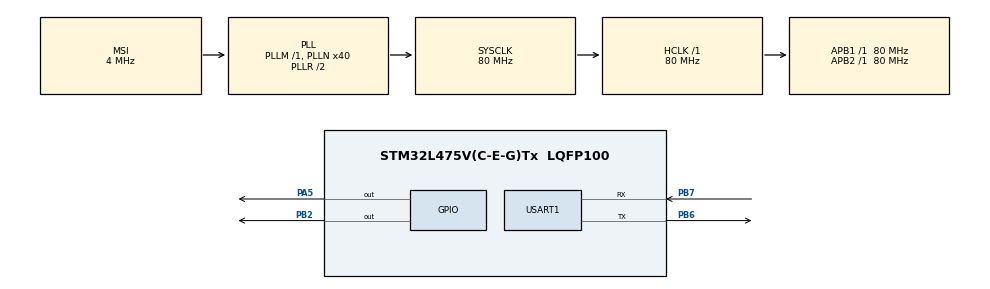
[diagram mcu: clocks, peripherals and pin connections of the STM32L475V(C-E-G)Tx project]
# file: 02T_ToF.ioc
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Mcu.Family=STM32L4
Mcu.Name=STM32L475V(C-E-G)Tx
Mcu.Package=LQFP100
NVIC.PriorityGroup=NVIC_PRIORITYGROUP_4
NVIC.TIM1_UP_TIM16_IRQn=true\:15\:0\:false\:false\:true\:false\:true
NVIC.TIM2_IRQn=true\:0\:0\:false\:false\:true\:true\:true
NVIC.TimeBase=TIM1_UP_TIM16_IRQn
NVIC.TimeBaseIP=TIM1
PA5.Signal=GPIO_Output
PB2.Signal=GPIO_Output
PB6.Mode=Asynchronous
PB6.Signal=USART1_TX
PB7.Mode=Asynchronous
PB7.Signal=USART1_RX
ProjectManager.HeapSize=0x200
ProjectManager.StackSize=0x400
ProjectManager.TargetToolchain=STM32CubeIDE
RCC.ADCFreq_Value=48000000
RCC.AHBFreq_Value=80000000
RCC.APB1Freq_Value=80000000
RCC.APB1TimFreq_Value=80000000
RCC.APB2Freq_Value=80000000
RCC.APB2TimFreq_Value=80000000
RCC.CortexFreq_Value=80000000
RCC.HCLKFreq_Value=80000000
RCC.HSE_VALUE=8000000
RCC.HSI_VALUE=16000000
RCC.LSE_VALUE=32768
RCC.MSI_VALUE=4000000
RCC.PLLN=40
RCC.PLLSAI1N=24
RCC.SYSCLKFreq_VALUE=80000000
RCC.SYSCLKSource=RCC_SYSCLKSOURCE_PLLCLK
RCC.USBFreq_Value=48000000
RCC.VCOOutputFreq_Value=160000000
TIM2.AutoReloadPreload=TIM_AUTORELOAD_PRELOAD_ENABLE
TIM2.Period=80000000
USART1.VirtualMode-Asynchronous=VM_ASYNC
VP_SYS_VS_tim1.Mode=TIM1
VP_TIM2_VS_ClockSourceINT.Mode=Internal
board=B-L475E-IOT01A1

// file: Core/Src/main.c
/* USER CODE BEGIN Header */
/**
  ******************************************************************************
  * @file           : main.c
  * @brief          : Main program body
  ******************************************************************************
  * @attention
  *
  * <h2><center>&copy; Copyright (c) 2022 STMicroelectronics.
  * All rights reserved.</center></h2>
  *
  * This software component is licensed by ST under BSD 3-Clause license,
  * the "License"; You may not use this file except in compliance with the
  * License. You may obtain a copy of the License at:
  *                        opensource.org/licenses/BSD-3-Clause
  *
  ******************************************************************************
  */
/* USER CODE END Header */
#include "main.h"

/* USER CODE BEGIN PD */

#define MAXDATA 255

#define ERR   		-1
#define OUT   		0
#define LOW   		1
#define MID   		2
#define HIGH  		3
#define OVER_HIGH	4

/* USER CODE END PD */

TIM_HandleTypeDef htim2;

UART_HandleTypeDef huart1;

void SystemClock_Config(void);
static void MX_GPIO_Init(void);
static void MX_TIM2_Init(void);
static void MX_USART1_UART_Init(void);
static void VL53L0X_PROXIMITY_MspInit(void);
static void START_PIN_TurnOnPinOUT(void);
static void STOP_PIN_TurnOffPinOUT(void);

/* USER CODE BEGIN 0 */

int nRet = OUT;
int nFlag = 0;
int nCount = 0;
extern I2C_HandleTypeDef hI2cHandler;
VL53L0X_DEV DevCopy;
VL53L0X_Dev_t Dev =
{
  .I2cHandle = &hI2cHandler,
  .I2cDevAddr = PROXIMITY_I2C_ADDRESS
};

extern UART_HandleTypeDef hDiscoUart;
#ifdef __GNUC__
/* With GCC/RAISONANCE, small msg_info (option LD Linker->Libraries->Small msg_info
   set to 'Yes') calls __io_putchar() */
#define PUTCHAR_PROTOTYPE int __io_putchar(int ch)
#define GETCHAR_PROTOTYPE int __io_getchar(void)
#else
#define PUTCHAR_PROTOTYPE int fputc(int ch, FILE *f)
#define GETCHAR_PROTOTYPE int fgetc(FILE *f)
#endif /* __GNUC__ */

/* USER CODE END 0 */

int main(void)
{

  /* MCU Configuration--------------------------------------------------------*/

  /* Reset of all peripherals, Initializes the Flash interface and the Systick. */
  HAL_Init();

  /* Configure the system clock */
  SystemClock_Config();

  /* Initialize all configured peripherals */
  MX_GPIO_Init();
  MX_TIM2_Init();
  MX_USART1_UART_Init();
  /* USER CODE BEGIN 2 */

  /* Inizializzazione del Timer */
  // Chiedere per il multithreading
  HAL_TIM_Base_Start_IT(&htim2);

  /* USER CODE END 2 */

  /* Infinite loop */
  /* USER CODE BEGIN WHILE */
  while (1)
  {
	  if (nFlag)
	  {
	    uint16_t nVal = 0;
	    uint8_t sDati[MAXDATA];
	    memset(sDati, 0, MAXDATA);

	    /* Inizializzazione VL53L0X */

	    uint16_t nIdVL53L0X = 0;
	    VL53L0X_DeviceInfo_t VL53L0X_DeviceInfo;

	    // Inizializzazione IO Interface
	    SENSOR_IO_Init();
	    VL53L0X_PROXIMITY_MspInit();

	    memset(&VL53L0X_DeviceInfo, 0, sizeof(VL53L0X_DeviceInfo_t));

	    if (VL53L0X_ERROR_NONE == VL53L0X_GetDeviceInfo(&Dev, &VL53L0X_DeviceInfo))
	    {
	      if (VL53L0X_ERROR_NONE == VL53L0X_RdWord(&Dev, VL53L0X_REG_IDENTIFICATION_MODEL_ID, (uint16_t *) &nIdVL53L0X))
	      {
	        if (nIdVL53L0X == VL53L0X_ID)
	        {
	          if (VL53L0X_ERROR_NONE == VL53L0X_DataInit(&Dev))
	          {
	            Dev.Present = 1;

	            DevCopy = &Dev;

	            SetupSingleShot(DevCopy);

	            Dev = *DevCopy;
	          }
	          else
	            printf("VL53L0X Time of Flight Failed to send its ID!\n");
	        }
	      }
	      else
	        printf("VL53L0X Time of Flight Failed to Initialize!\n");
	    }
	    else
	      printf("VL53L0X Time of Flight Failed to get infos!\n");

	    /* Cattura della distanza */

	    VL53L0X_RangingMeasurementData_t RangingMeasurementData;

	    VL53L0X_PerformSingleRangingMeasurement(&Dev, &RangingMeasurementData);

	    nVal = RangingMeasurementData.RangeMilliMeter;

	    /* Logica di controllo */
	    /* 30 cm cicalino costante */

	    if ((nVal >= 1000) && (nVal < 1800))
	      nRet = LOW;
	    else if ((nVal >= 500) &&(nVal < 1000))
	      nRet = MID;
	    else if ((nVal >= 300) && (nVal < 500))
	      nRet = HIGH;
	    else if ((nVal >= 40) && (nVal < 300))
	    	nRet = OVER_HIGH;
	    else if ((nVal >= 1800) || (nVal <= 20))
	      nRet = OUT;
	    else
	      nRet = ERR;

	    int nTemp = nRet;
	    if (nRet == OVER_HIGH)
	    	nTemp = HIGH;

	    sprintf(sDati, "%d-%u", nTemp, nVal);
	    printf("%s", sDati);

	    HAL_UART_Transmit(&huart1, sDati, sizeof(sDati), 3);
	  }

    /* USER CODE END WHILE */

  }
}

void SystemClock_Config(void)
{
  RCC_OscInitTypeDef RCC_OscInitStruct = {0};
  RCC_ClkInitTypeDef RCC_ClkInitStruct = {0};

  /** Configure the main internal regulator output voltage
  */
  if (HAL_PWREx_ControlVoltageScaling(PWR_REGULATOR_VOLTAGE_SCALE1) != HAL_OK)
  {
    Error_Handler();
  }
  /** Initializes the RCC Oscillators according to the specified parameters
  * in the RCC_OscInitTypeDef structure.
  */
  RCC_OscInitStruct.OscillatorType = RCC_OSCILLATORTYPE_MSI;
  RCC_OscInitStruct.MSIState = RCC_MSI_ON;
  RCC_OscInitStruct.MSICalibrationValue = 0;
  RCC_OscInitStruct.MSIClockRange = RCC_MSIRANGE_6;
  RCC_OscInitStruct.PLL.PLLState = RCC_PLL_ON;
  RCC_OscInitStruct.PLL.PLLSource = RCC_PLLSOURCE_MSI;
  RCC_OscInitStruct.PLL.PLLM = 1;
  RCC_OscInitStruct.PLL.PLLN = 40;
  RCC_OscInitStruct.PLL.PLLP = RCC_PLLP_DIV7;
  RCC_OscInitStruct.PLL.PLLQ = RCC_PLLQ_DIV2;
  RCC_OscInitStruct.PLL.PLLR = RCC_PLLR_DIV2;
  if (HAL_RCC_OscConfig(&RCC_OscInitStruct) != HAL_OK)
  {
    Error_Handler();
  }
  /** Initializes the CPU, AHB and APB buses clocks
  */
  RCC_ClkInitStruct.ClockType = RCC_CLOCKTYPE_HCLK|RCC_CLOCKTYPE_SYSCLK
                              |RCC_CLOCKTYPE_PCLK1|RCC_CLOCKTYPE_PCLK2;
  RCC_ClkInitStruct.SYSCLKSource = RCC_SYSCLKSOURCE_PLLCLK;
  RCC_ClkInitStruct.AHBCLKDivider = RCC_SYSCLK_DIV1;
  RCC_ClkInitStruct.APB1CLKDivider = RCC_HCLK_DIV1;
  RCC_ClkInitStruct.APB2CLKDivider = RCC_HCLK_DIV1;

  if (HAL_RCC_ClockConfig(&RCC_ClkInitStruct, FLASH_LATENCY_4) != HAL_OK)
  {
    Error_Handler();
  }
}

static void MX_TIM2_Init(void)
{

  TIM_ClockConfigTypeDef sClockSourceConfig = {0};
  TIM_MasterConfigTypeDef sMasterConfig = {0};

  htim2.Instance = TIM2;
  htim2.Init.Prescaler = 0;
  htim2.Init.CounterMode = TIM_COUNTERMODE_UP;
  htim2.Init.Period = 80000000;
  htim2.Init.ClockDivision = TIM_CLOCKDIVISION_DIV1;
  htim2.Init.AutoReloadPreload = TIM_AUTORELOAD_PRELOAD_ENABLE;
  if (HAL_TIM_Base_Init(&htim2) != HAL_OK)
  {
    Error_Handler();
  }
  sClockSourceConfig.ClockSource = TIM_CLOCKSOURCE_INTERNAL;
  if (HAL_TIM_ConfigClockSource(&htim2, &sClockSourceConfig) != HAL_OK)
  {
    Error_Handler();
  }
  sMasterConfig.MasterOutputTrigger = TIM_TRGO_RESET;
  sMasterConfig.MasterSlaveMode = TIM_MASTERSLAVEMODE_DISABLE;
  if (HAL_TIMEx_MasterConfigSynchronization(&htim2, &sMasterConfig) != HAL_OK)
  {
    Error_Handler();
  }

}

/**
  * @brief  VL53L0X proximity sensor Msp Initialization.
  */
static void VL53L0X_PROXIMITY_MspInit(void)
{
  GPIO_InitTypeDef GPIO_InitStruct;

  /*Configure GPIO pin : VL53L0X_XSHUT_Pin */
  GPIO_InitStruct.Pin = VL53L0X_XSHUT_Pin;
  GPIO_InitStruct.Mode = GPIO_MODE_OUTPUT_PP;
  GPIO_InitStruct.Pull = GPIO_PULLUP;
  GPIO_InitStruct.Speed = GPIO_SPEED_FREQ_HIGH;
  HAL_GPIO_Init(VL53L0X_XSHUT_GPIO_Port, &GPIO_InitStruct);

  HAL_GPIO_WritePin(VL53L0X_XSHUT_GPIO_Port, VL53L0X_XSHUT_Pin, GPIO_PIN_SET);

  HAL_Delay(1000);
}

static void MX_USART1_UART_Init(void)
{

  huart1.Instance = USART1;
  huart1.Init.BaudRate = 115200;
  huart1.Init.WordLength = UART_WORDLENGTH_8B;
  huart1.Init.StopBits = UART_STOPBITS_1;
  huart1.Init.Parity = UART_PARITY_NONE;
  huart1.Init.Mode = UART_MODE_TX_RX;
  huart1.Init.HwFlowCtl = UART_HWCONTROL_NONE;
  huart1.Init.OverSampling = UART_OVERSAMPLING_16;
  huart1.Init.OneBitSampling = UART_ONE_BIT_SAMPLE_DISABLE;
  huart1.AdvancedInit.AdvFeatureInit = UART_ADVFEATURE_NO_INIT;
  if (HAL_UART_Init(&huart1) != HAL_OK)
  {
    Error_Handler();
  }

}

static void MX_GPIO_Init(void)
{
  GPIO_InitTypeDef GPIO_InitStruct = {0};

  /* GPIO Ports Clock Enable */
  __HAL_RCC_GPIOA_CLK_ENABLE();
  __HAL_RCC_GPIOB_CLK_ENABLE();

  /*Configure GPIO pin Output Level */
  /* GPIOB, GPIO_PIN_2 è il PIN per il buzzer */
  HAL_GPIO_WritePin(GPIOB, GPIO_PIN_2, GPIO_PIN_RESET);

  /*Configure GPIO pin Output Level */
  HAL_GPIO_WritePin(GPIOA, GPIO_PIN_5, GPIO_PIN_RESET);

  /*Configure GPIO pin : PA5 */
  GPIO_InitStruct.Pin = GPIO_PIN_5;
  GPIO_InitStruct.Mode = GPIO_MODE_OUTPUT_PP;
  GPIO_InitStruct.Pull = GPIO_NOPULL;
  GPIO_InitStruct.Speed = GPIO_SPEED_FREQ_LOW;
  HAL_GPIO_Init(GPIOA, &GPIO_InitStruct);

  /*Configure GPIO pin : PB2 */
  GPIO_InitStruct.Pin = GPIO_PIN_2;
  GPIO_InitStruct.Mode = GPIO_MODE_OUTPUT_PP;
  GPIO_InitStruct.Pull = GPIO_NOPULL;
  GPIO_InitStruct.Speed = GPIO_SPEED_FREQ_LOW;
  HAL_GPIO_Init(GPIOB, &GPIO_InitStruct);

}

void HAL_TIM_PeriodElapsedCallback(TIM_HandleTypeDef *htim)
{
  if (htim->Instance == TIM1) {
    HAL_IncTick();
  }
  /* USER CODE BEGIN Callback 1 */

  if (htim->Instance == TIM2) {

	  nFlag = 1;

	  START_PIN_TurnOnPinOUT();
	  STOP_PIN_TurnOffPinOUT();
  }

  /* USER CODE END Callback 1 */
}

void START_PIN_TurnOnPinOUT()
{

	if (nRet == OUT || nRet == ERR)
		HAL_GPIO_WritePin(GPIOA, GPIO_PIN_5, 0);
	else
		HAL_GPIO_WritePin(GPIOA, GPIO_PIN_5, 1);

}

void STOP_PIN_TurnOffPinOUT()
{
	switch (nRet)
	{
	case ERR:
	case OUT:
		HAL_GPIO_WritePin(GPIOA, GPIO_PIN_5, 0);
		break;

	case LOW:
		for (int i = 0; i < 1000000; i++)
			continue;
		HAL_GPIO_WritePin(GPIOA, GPIO_PIN_5, 0);
		break;

	case MID:
		for (int i = 0; i < 2000000; i++)
			continue;
		HAL_GPIO_WritePin(GPIOA, GPIO_PIN_5, 0);
		break;

	case HIGH:
		for (int i = 0; i < 4000000; i++)
			continue;
		HAL_GPIO_WritePin(GPIOA, GPIO_PIN_5, 0);
		break;

	case OVER_HIGH:
		break;

	default:
		HAL_GPIO_WritePin(GPIOA, GPIO_PIN_5, 0);
		break;
	}
}

void Error_Handler(void)
{
  __disable_irq();
  while (1)
  {
  }
}

/************************ (C) COPYRIGHT STMicroelectronics *****END OF FILE****/
